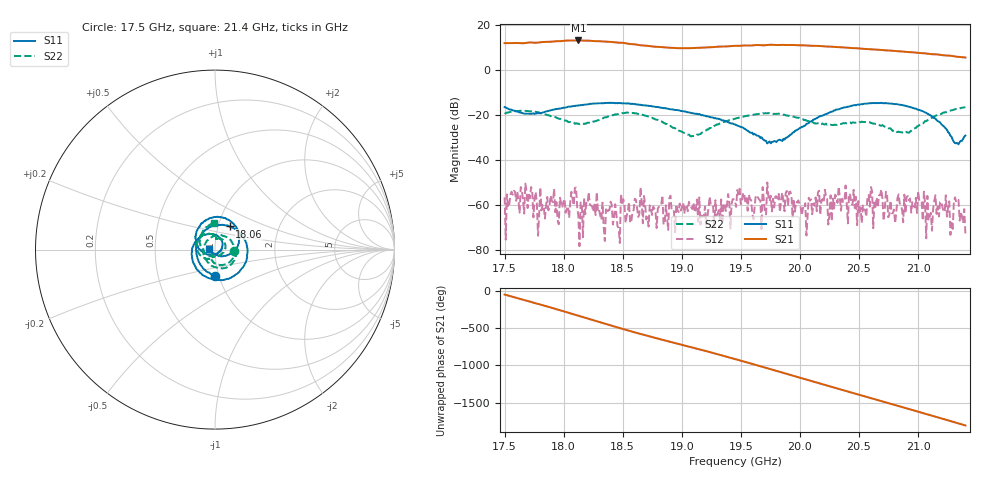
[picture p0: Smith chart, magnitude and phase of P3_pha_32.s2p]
!Created with skrf (http://scikit-rf.org).
# GHz S RI R 50.0
!freq ReS11 ImS11 ReS21 ImS21 ReS12 ImS12 ReS22 ImS22
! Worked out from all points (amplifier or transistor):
!   401 points, 17.5 GHz to 21.4 GHz, reference 50 ohm
!   highest |S21| = 13.1 dB at 18.12 GHz (marker M1)
!   |S21| within 3 dB of that: start of sweep to 18.83 GHz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
!   unconditionally stable (mu >= 1): start of sweep to end of sweep
!   at 18.14 GHz: K = 95.41, MAG = 13.2 dB, |S12| = -59.0 dB
!   at 19.45 GHz: K = 118.98, MAG = 10.8 dB, |S12| = -58.3 dB
!   at 21.4 GHz: K = 1130.78, MAG = 5.6 dB, |S12| = -72.8 dB
!   S11 on the Smith chart (normalised r, x): 17.5 GHz: 0.96, -0.29; 18.06 GHz: 1.14, +0.30; 21.4 GHz: 0.93, +0.01
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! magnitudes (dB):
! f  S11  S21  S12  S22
! 17.5 GHz  -16.5  11.9  -56.7  -19.5
! 17.57 GHz  -18.0  12.0  -55.5  -18.4
! 17.8 GHz  -19.2  12.3  -52.3  -19.2
! 18.06 GHz  -16.3  13.1  -58.8  -23.1
! 18.09 GHz  -16.0  13.1  -60.3  -23.4
! 18.12 GHz  -15.8  13.1  -64.9  -23.9
! 18.15 GHz  -15.6  13.1  -59.2  -23.9
! 18.21 GHz  -15.3  13.0  -54.4  -23.4
! 18.33 GHz  -14.8  12.7  -59.0  -21.7
! 18.39 GHz  -14.6  12.5  -62.4  -20.5
! 18.46 GHz  -14.8  12.1  -69.6  -19.7
! 18.5 GHz  -14.9  12.0  -57.6  -19.2
! 18.81 GHz  -16.6  10.3  -60.9  -22.8
! 19.1 GHz  -19.3  9.8  -59.0  -29.4
! 19.45 GHz  -24.2  10.7  -58.3  -21.7
! 19.74 GHz  -31.8  11.2  -58.4  -19.2
! 20.1 GHz  -22.6  10.7  -64.2  -23.3
! 20.76 GHz  -14.9  8.6  -64.3  -26.0
! 21.21 GHz  -25.0  6.5  -63.0  -19.0
! 21.27 GHz  -29.3  6.3  -73.4  -18.1
! 21.32 GHz  -32.6  5.9  -58.9  -17.5
! 21.4 GHz  -29.2  5.5  -72.8  -16.5
